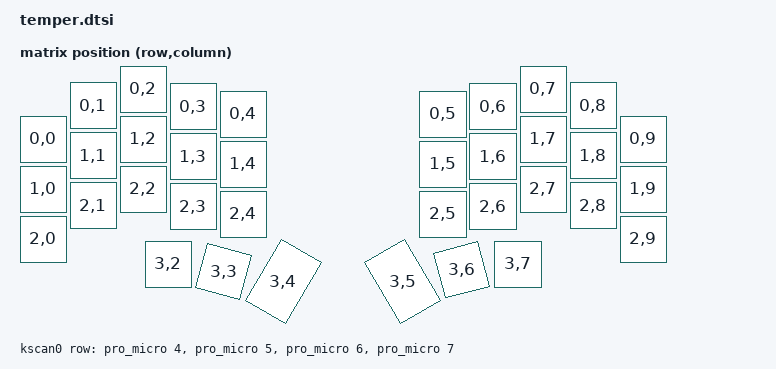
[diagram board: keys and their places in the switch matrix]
/*
 * Copyright (c) 2020 Pete Johanson
 *
 * SPDX-License-Identifier: MIT
 */

#include <physical_layouts.dtsi>
#include <dt-bindings/zmk/matrix_transform.h>

/ {
    chosen {
        zmk,kscan = &kscan0;
        zmk,physical-layout = &physical_layout0;
    };

    physical_layout0: physical_layout_0 {
        compatible = "zmk,physical-layout";
        display-name = "Default Layout";
        transform = <&default_transform>;
        kscan = <&kscan0>;
        // Studio expects this array to stay in the same order as the matrix transform and keymap bindings.
        keys
            = <&key_physical_attrs 100 100   0 100    0   0   0>
            , <&key_physical_attrs 100 100 100  33    0   0   0>
            , <&key_physical_attrs 100 100 200   0    0   0   0>
            , <&key_physical_attrs 100 100 300  35    0   0   0>
            , <&key_physical_attrs 100 100 400  50    0   0   0>
            , <&key_physical_attrs 100 100 800  50    0   0   0>
            , <&key_physical_attrs 100 100 900  35    0   0   0>
            , <&key_physical_attrs 100 100 1000   0    0    0    0>
            , <&key_physical_attrs 100 100 1100  33    0    0    0>
            , <&key_physical_attrs 100 100 1200 100    0    0    0>

            , <&key_physical_attrs 100 100   0 200    0   0   0>
            , <&key_physical_attrs 100 100 100 133    0   0   0>
            , <&key_physical_attrs 100 100 200 100    0   0   0>
            , <&key_physical_attrs 100 100 300 135    0   0   0>
            , <&key_physical_attrs 100 100 400 150    0   0   0>
            , <&key_physical_attrs 100 100 800 150    0   0   0>
            , <&key_physical_attrs 100 100 900 135    0   0   0>
            , <&key_physical_attrs 100 100 1000 100    0    0    0>
            , <&key_physical_attrs 100 100 1100 133    0    0    0>
            , <&key_physical_attrs 100 100 1200 200    0    0    0>

            , <&key_physical_attrs 100 100   0 300    0   0   0>
            , <&key_physical_attrs 100 100 100 233    0   0   0>
            , <&key_physical_attrs 100 100 200 200    0   0   0>
            , <&key_physical_attrs 100 100 300 235    0   0   0>
            , <&key_physical_attrs 100 100 400 250    0   0   0>
            , <&key_physical_attrs 100 100 800 250    0   0   0>
            , <&key_physical_attrs 100 100 900 235    0   0   0>
            , <&key_physical_attrs 100 100 1000 200    0    0    0>
            , <&key_physical_attrs 100 100 1100 233    0    0    0>
            , <&key_physical_attrs 100 100 1200 300    0    0    0>

            , <&key_physical_attrs 100 100 250 350    0    0    0>
            , <&key_physical_attrs 100 100 350 350 1500 350 450>
            , <&key_physical_attrs 100 150 450 325 3000 450 475>
            , <&key_physical_attrs 100 150 750 325 (-3000) 850 475>
            , <&key_physical_attrs 100 100 875 350 (-1500) 950 550>
            , <&key_physical_attrs 100 100 950 350    0    0    0>
            ;
    };

    default_transform: keymap_transform_0 {
        compatible = "zmk,matrix-transform";
        columns = <10>;
        rows = <4>;
// | SW1  | SW2  | SW3  | SW4  | SW5  |   | SW5  | SW4  | SW3  | SW2  | SW1  |
// | SW6  | SW7  | SW8  | SW9  | SW10 |   | SW10 | SW9  | SW8  | SW7  | SW6  |
// | SW11 | SW12 | SW13 | SW14 | SW15 |   | SW15 | SW14 | SW13 | SW12 | SW11 |
//               | SW16 | SW17 | SW18 |   | SW18 | SW17 | SW16 |
        map = <
RC(0,0) RC(0,1) RC(0,2) RC(0,3) RC(0,4)  RC(0,5) RC(0,6) RC(0,7) RC(0,8) RC(0,9)
RC(1,0) RC(1,1) RC(1,2) RC(1,3) RC(1,4)  RC(1,5) RC(1,6) RC(1,7) RC(1,8) RC(1,9)
RC(2,0) RC(2,1) RC(2,2) RC(2,3) RC(2,4)  RC(2,5) RC(2,6) RC(2,7) RC(2,8) RC(2,9)
                RC(3,2) RC(3,3) RC(3,4)  RC(3,5) RC(3,6) RC(3,7)
        >;
    };

    kscan0: kscan {
        compatible = "zmk,kscan-gpio-matrix";

        diode-direction = "col2row";
        row-gpios
            = <&pro_micro 4 (GPIO_ACTIVE_HIGH | GPIO_PULL_DOWN)>
            , <&pro_micro 5 (GPIO_ACTIVE_HIGH | GPIO_PULL_DOWN)>
            , <&pro_micro 6 (GPIO_ACTIVE_HIGH | GPIO_PULL_DOWN)>
            , <&pro_micro 7 (GPIO_ACTIVE_HIGH | GPIO_PULL_DOWN)>
            ;

    };

};
